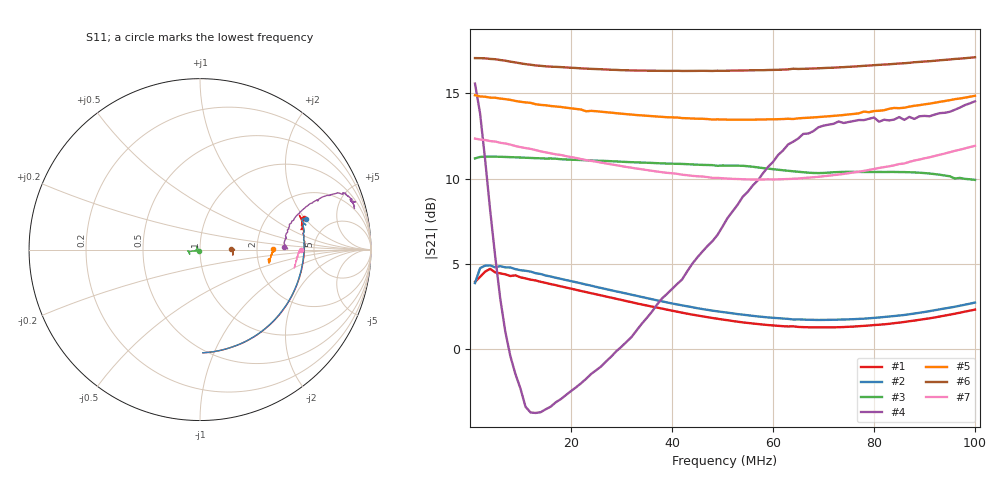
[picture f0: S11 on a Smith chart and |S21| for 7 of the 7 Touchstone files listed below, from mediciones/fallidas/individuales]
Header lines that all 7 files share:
# HZ S RI R 50
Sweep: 1 MHz to 100 MHz
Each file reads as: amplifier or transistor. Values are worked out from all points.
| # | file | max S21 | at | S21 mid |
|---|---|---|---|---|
| 1 | bga616_a_33v.s2p | 4.7 dB | 4 MHz | 1.7 dB at 51 MHz |
| 2 | bga616_b_33v.s2p | 4.9 dB | 4 MHz | 2.1 dB at 51 MHz |
| 3 | fca_chb_10.s2p | 11.3 dB | 4 MHz | 10.8 dB at 51 MHz |
| 4 | tia_ltc__bga.s2p | 15.6 dB | 1 MHz | 7.7 dB at 51 MHz |
| 5 | tx_amp_a_5v.s2p | 14.9 dB | 1 MHz | 13.5 dB at 51 MHz |
| 6 | tx_amp_a_8v.s2p | 17.1 dB | 100 MHz | 16.3 dB at 51 MHz |
| 7 | tx_amp_a_33v.s2p | 12.3 dB | 1 MHz | 10.0 dB at 51 MHz |
